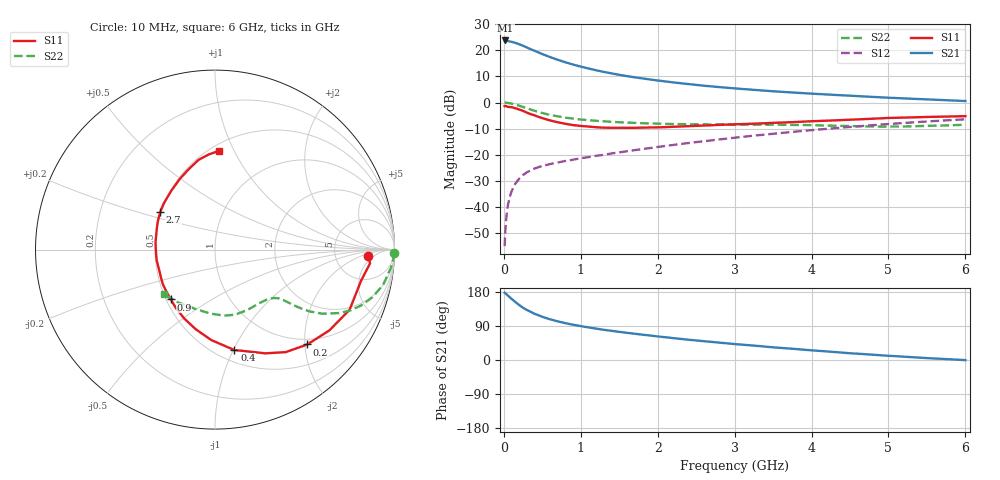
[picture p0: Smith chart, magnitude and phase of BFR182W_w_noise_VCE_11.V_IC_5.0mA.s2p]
! (c) 2017  Infineon Technologies AG, Munich
! Infineon Technologies  Discrete & RF Semiconductors
! BFR182W
! VCE =  11. V,  IC =  5.0 mA
! Common Emitter S-Parameters:  Jan 2017
# GHz  S  MA  R  50
!  f  S11  S21  S12  S22
! GHz  MAG  ANG  MAG  ANG  MAG  ANG  MAG  ANG
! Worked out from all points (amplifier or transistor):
!   77 points, 10 MHz to 6 GHz, reference 50 ohm
!   highest |S21| = 23.8 dB at 20 MHz (marker M1)
!   |S21| within 3 dB of that: start of sweep to 323.6 MHz
!   unconditionally stable (mu >= 1): 1.367 GHz to 2.854 GHz
!   at 130 MHz: K = 0.17, MSG = 27.5 dB, |S12| = -32.1 dB
!   at 2.2 GHz: K = 1.05, MAG = 10.6 dB, |S12| = -16.2 dB
!   at 6 GHz: K = 0.83, MSG = 3.5 dB, |S12| = -6.4 dB
!   lowest NFmin = 0.88 dB at 450 MHz
!   S11 on the Smith chart (normalised r, x): 10 MHz: 12, -3; 200 MHz: 0.88, -2.05; 400 MHz: 0.61, -1.01; 900 MHz: 0.53, -0.34; 2.7 GHz: 0.50, +0.24; 6 GHz: 0.55, +0.87
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0.01  0.8534 -2.5  15.28 177.6  0.0018 74.9  0.998 -1.1
0.02  0.8676 -5.0  15.4 176.0  0.0036 93.3  0.9964 -2.6
0.05  0.8319 -12.1  15.06 170.5  0.0104 79.3  0.985 -6.0
0.1  0.8213 -24.1  14.55 161.4  0.0199 78.2  0.9576 -11.7
0.15  0.7804 -35.2  13.83 152.9  0.0282 72.1  0.9173 -16.8
0.2  0.7374 -45.8  13.01 145.0  0.0352 68.0  0.8718 -20.9
0.25  0.6939 -55.4  12.18 137.8  0.0414 63.5  0.8243 -24.4
0.3  0.6426 -64.1  11.29 131.9  0.0465 61.3  0.7759 -27.1
0.4  0.5697 -79.1  9.767 121.8  0.0549 56.8  0.6961 -30.9
0.5  0.5047 -92.3  8.452 114.0  0.0615 54.3  0.6314 -33.1
0.6  0.4562 -103.7  7.422 107.4  0.0668 53.0  0.5828 -34.3
0.7  0.4209 -113.9  6.572 102.0  0.0715 54.0  0.5452 -35.1
0.8  0.3935 -123.1  5.902 97.2  0.0765 54.1  0.516 -35.6
0.9  0.3714 -131.6  5.329 93.1  0.081 54.2  0.4939 -36.0
1.1  0.3486 -146.5  4.486 86.0  0.0906 56.1  0.4614 -36.9
1.5  0.3302 -170.2  3.399 74.3  0.1117 58.5  0.4214 -39.9
2.1  0.3396 164.0  2.536 60.1  0.1483 60.9  0.3923 -47.7
2.7  0.3688 145.7  2.04 47.8  0.1899 60.8  0.382 -58.4
3.1  0.3883 135.3  1.821 40.5  0.2209 59.6  0.3796 -65.5
4.1  0.4453 114.8  1.455 24.1  0.306 54.0  0.3669 -85.0
5.1  0.5123 99.0  1.221 10.0  0.3981 45.6  0.3482 -112.9
6  0.5506 87.7  1.071 -0.3  0.4795 36.4  0.3777 -138.9
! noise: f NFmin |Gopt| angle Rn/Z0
0.45  0.88  0.26  32  0.17
0.9  0.98  0.21  59  0.16
1.9  1.55  0.19  162  0.13
2.4  1.83  0.21  176  0.17
